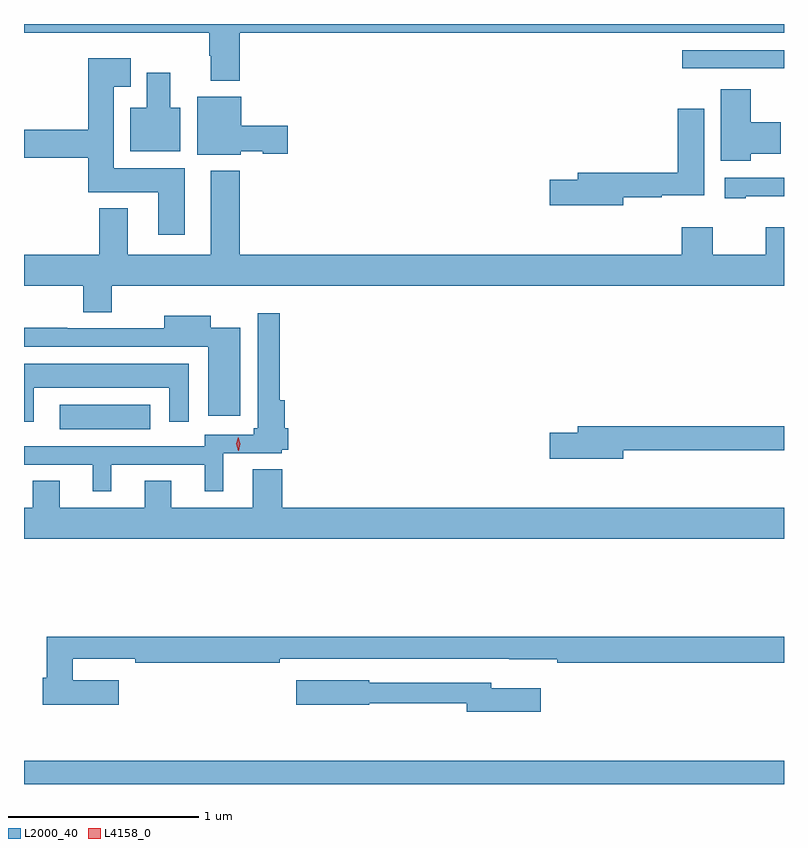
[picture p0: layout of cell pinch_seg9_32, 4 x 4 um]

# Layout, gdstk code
import gdstk
lib = gdstk.Library(unit=1e-6, precision=1e-09)
def R(c, l, rs):  # rectangles x0, y0, x1, y1
    for r in rs: c.add(gdstk.rectangle(r[:2], r[2:], *l))
def P(c, l, *ps):  # polygons
    for p in ps: c.add(gdstk.Polygon(p, *l))
L2000_40 = (2000, 40)
L4158_0 = (4158, 0)

pinch_seg9_32 = lib.new_cell('pinch_seg9_32')
R(pinch_seg9_32, L2000_40, [(922.476,1233.758,926.476,1233.88), (922.665,1235.624,923.14,1235.755), (925.941,1237.524,926.476,1237.62)])
P(pinch_seg9_32, L2000_40, [(923.612,1237.712),(926.476,1237.712),(926.476,1237.758),(922.476,1237.758),(922.476,1237.712),(923.452,1237.712),(923.452,1237.592),(923.459,1237.592),(923.459,1237.46),(923.612,1237.46)],
  [(923.323,1237),(922.948,1237),(922.948,1237.427),(923.038,1237.427),(923.038,1237.579),(922.814,1237.579),(922.814,1237.202),(922.476,1237.202),(922.476,1237.055),(922.814,1237.055),(922.814,1236.872),(923.183,1236.872),(923.183,1236.648),(923.323,1236.648)],
  [(923.299,1237.318),(923.245,1237.318),(923.245,1237.501),(923.123,1237.501),(923.123,1237.318),(923.036,1237.318),(923.036,1237.088),(923.299,1237.088)],
  [(926.302,1237.076),(926.458,1237.076),(926.458,1237.24),(926.302,1237.24),(926.302,1237.414),(926.144,1237.414),(926.144,1237.037),(926.302,1237.037)],
  [(923.616,1237.088),(923.733,1237.088),(923.733,1237.076),(923.863,1237.076),(923.863,1237.223),(923.62,1237.223),(923.62,1237.375),(923.387,1237.375),(923.387,1237.07),(923.616,1237.07)],
  [(925.63,1236.846),(925.832,1236.846),(925.832,1236.857),(926.056,1236.857),(926.056,1237.312),(925.916,1237.312),(925.916,1236.974),(925.391,1236.974),(925.391,1236.938),(925.242,1236.938),(925.242,1236.803),(925.63,1236.803)],
  [(922.939,1236.38),(926.476,1236.38),(926.476,1236.688),(926.381,1236.688),(926.381,1236.544),(926.101,1236.544),(926.101,1236.688),(925.937,1236.688),(925.937,1236.544),(923.612,1236.544),(923.612,1236.985),(923.459,1236.985),(923.459,1236.544),(923.023,1236.544),(923.023,1236.787),(922.871,1236.787),(922.871,1236.544),(922.476,1236.544),(922.476,1236.38),(922.787,1236.38),(922.787,1236.241),(922.939,1236.241)],
  [(926.275,1236.851),(926.476,1236.851),(926.476,1236.948),(926.163,1236.948),(926.163,1236.84),(926.275,1236.84)],
  [(922.936,1235.439),(923.426,1235.439),(923.426,1235.298),(923.524,1235.298),(923.524,1235.499),(923.832,1235.499),(923.832,1235.517),(923.867,1235.517),(923.867,1235.631),(923.849,1235.631),(923.849,1235.779),(923.822,1235.779),(923.822,1236.235),(923.706,1236.235),(923.706,1235.631),(923.684,1235.631),(923.684,1235.595),(923.427,1235.595),(923.427,1235.535),(922.476,1235.535),(922.476,1235.439),(922.838,1235.439),(922.838,1235.298),(922.936,1235.298)],
  [(923.614,1236.159),(923.458,1236.159),(923.458,1236.223),(923.213,1236.223),(923.213,1236.156),(922.703,1236.156),(922.703,1236.159),(922.476,1236.159),(922.476,1236.06),(923.447,1236.06),(923.447,1235.696),(923.614,1235.696)],
  [(922.528,1235.843),(923.24,1235.843),(923.24,1235.664),(923.344,1235.664),(923.344,1235.971),(922.476,1235.971),(922.476,1235.664),(922.528,1235.664)],
  [(925.63,1235.514),(926.476,1235.514),(926.476,1235.642),(925.391,1235.642),(925.391,1235.606),(925.242,1235.606),(925.242,1235.471),(925.63,1235.471)],
  [(926.476,1235.212),(923.834,1235.212),(923.834,1235.414),(923.681,1235.414),(923.681,1235.212),(923.251,1235.212),(923.251,1235.354),(923.111,1235.354),(923.111,1235.212),(922.663,1235.212),(922.663,1235.354),(922.523,1235.354),(922.523,1235.212),(922.476,1235.212),(922.476,1235.048),(926.476,1235.048)],
  [(922.975,1234.303),(922.733,1234.303),(922.733,1234.416),(923.062,1234.416),(923.062,1234.396),(923.822,1234.396),(923.822,1234.416),(925.03,1234.416),(925.03,1234.415),(925.282,1234.415),(925.282,1234.396),(926.476,1234.396),(926.476,1234.532),(922.597,1234.532),(922.597,1234.316),(922.574,1234.316),(922.574,1234.174),(922.975,1234.174)],
  [(925.195,1234.261),(924.934,1234.261),(924.934,1234.29),(924.294,1234.29),(924.294,1234.303),(923.91,1234.303),(923.91,1234.174),(924.294,1234.174),(924.294,1234.182),(924.806,1234.182),(924.806,1234.139),(925.195,1234.139)])
P(pinch_seg9_32, L4158_0, [(923.604,1235.512),(923.594,1235.548),(923.603,1235.584),(923.604,1235.584),(923.604,1235.584),(923.614,1235.548),(923.605,1235.512),(923.605,1235.512)])

lib.write_gds('pinch_seg9_32.gds')
